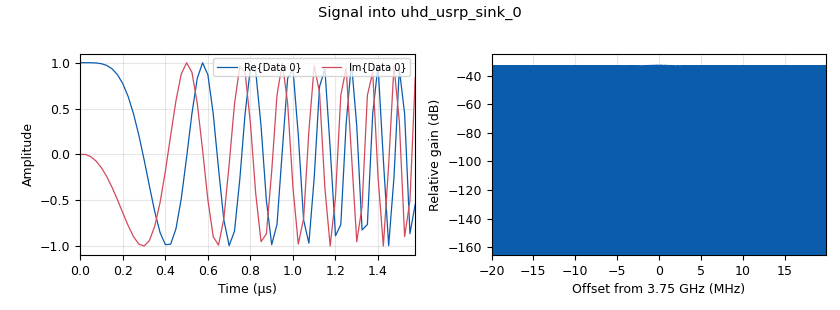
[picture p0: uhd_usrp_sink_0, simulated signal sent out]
options:
  parameters:
    author: Nick Schwarzenberg
    generate_options: qt_gui
    id: transmit
    output_language: python
    realtime_scheduling: '1'
    title: Sounding Transmitter
  states: {}

blocks:
- name: center_freq_mhz
  id: variable_qtgui_range
  parameters:
    label: Center Frequency (MHz)
    min_len: '10'
    start: '70'
    step: '0.1'
    stop: '6000'
    value: '3750'
  states: {}
- name: samp_rate
  id: variable
  parameters:
    value: 40e6
  states: {}
- name: tx_gain
  id: variable_qtgui_range
  parameters:
    label: Normalized TX Gain
    start: '0'
    step: '0.02'
    stop: '1'
    value: '1.0'
  states: {}
- name: blocks_vector_source_x_0
  id: blocks_vector_source_x
  parameters:
    repeat: 'True'
    type: complex
    vector: (1.0+0.0j,1.0000+0.0000j,0.9997-0.0246j,0.9973-0.0739j,0.9891-0.1473j,0.9698-0.2439j,0.9325-0.3612j,0.8691-0.4947j,0.7713-0.6365j,0.6317-0.7752j,0.4457-0.8952j,0.2139-0.9768j,-0.0554-0.9985j,-0.3439-0.9390j,-0.6221-0.7829j,-0.8502-0.5264j,-0.9830-0.1837j,-0.9781+0.2079j,-0.8090+0.5878j,-0.4785+0.8781j,-0.0308+0.9995j,0.4457+0.8952j,0.8302+0.5575j,0.9988+0.0493j,0.8691-0.4947j,0.4457-0.8952j,-0.1534-0.9882j,-0.7136-0.7005j,-0.9939-0.1107j,-0.8370+0.5472j,-0.2737+0.9618j,0.4457+0.8952j,0.9411+0.3382j,0.9032-0.4291j,0.3090-0.9511j,-0.5000-0.8660j,-0.9830-0.1837j,-0.7634+0.6459j,0.0431+0.9991j,0.8302+0.5575j,0.9325-0.3612j,0.2139-0.9768j,-0.7136-0.7005j,-0.9667+0.2558j,-0.2499+0.9683j,0.7390+0.6737j,0.9325-0.3612j,0.0677-0.9977j,-0.8868-0.4622j,-0.7634+0.6459j,0.3324+0.9432j,1.0000+0.0000j,0.3090-0.9511j,-0.8233-0.5677j,-0.7634+0.6459j,0.4457+0.8952j,0.9698-0.2439j,-0.0554-0.9985j,-0.9939-0.1107j,-0.2499+0.9683j,0.9325+0.3612j,0.4457-0.8952j,-0.8629-0.5053j,-0.5421+0.8403j,0.8302+0.5575j,0.5524-0.8336j,-0.8502-0.5264j,-0.4785+0.8781j,0.9135+0.4067j,0.3090-0.9511j,-0.9830-0.1837j,-0.0308+0.9995j,0.9891-0.1473j,-0.3439-0.9390j,-0.8370+0.5472j,0.7390+0.6737j,0.4457-0.8952j,-0.9872-0.1595j,0.1656+0.9862j,0.8691-0.4947j,-0.7791-0.6269j,-0.2737+0.9618j,0.9891-0.1473j,-0.5626-0.8267j,-0.4785+0.8781j,1.0000+0.0000j,-0.5000-0.8660j,-0.4785+0.8781j,0.9973-0.0739j,-0.6221-0.7829j,-0.2737+0.9618j,0.9325-0.3612j,-0.8629-0.5053j,0.1656+0.9862j,0.6317-0.7752j,-0.9981+0.0616j,0.7390+0.6737j,-0.0554-0.9985j,-0.6412+0.7674j,0.9891-0.1473j,-0.8502-0.5264j,0.3324+0.9432j,0.3090-0.9511j,-0.8090+0.5878j,0.9997-0.0246j,-0.8502-0.5264j,0.4457+0.8952j,0.0677-0.9977j,-0.5421+0.8403j,0.8691-0.4947j,-0.9981+0.0616j,0.9325+0.3612j,-0.7136-0.7005j,0.4011+0.9160j,-0.0554-0.9985j,-0.2737+0.9618j,0.5524-0.8336j,-0.7634+0.6459j,0.9032-0.4291j,-0.9781+0.2079j,1.0000+0.0000j,-0.9830-0.1837j,0.9411+0.3382j,-0.8868-0.4622j,0.8302+0.5575j,-0.7791-0.6269j,0.7390+0.6737j,-0.7136-0.7005j,0.7049+0.7093j,-0.7136-0.7005j,0.7390+0.6737j,-0.7791-0.6269j,0.8302+0.5575j,-0.8868-0.4622j,0.9411+0.3382j,-0.9830-0.1837j,1.0000+0.0000j,-0.9781+0.2079j,0.9032-0.4291j,-0.7634+0.6459j,0.5524-0.8336j,-0.2737+0.9618j,-0.0554-0.9985j,0.4011+0.9160j,-0.7136-0.7005j,0.9325+0.3612j,-0.9981+0.0616j,0.8691-0.4947j,-0.5421+0.8403j,0.0677-0.9977j,0.4457+0.8952j,-0.8502-0.5264j,0.9997-0.0246j,-0.8090+0.5878j,0.3090-0.9511j,0.3324+0.9432j,-0.8502-0.5264j,0.9891-0.1473j,-0.6412+0.7674j,-0.0554-0.9985j,0.7390+0.6737j,-0.9981+0.0616j,0.6317-0.7752j,0.1656+0.9862j,-0.8629-0.5053j,0.9325-0.3612j,-0.2737+0.9618j,-0.6221-0.7829j,0.9973-0.0739j,-0.4785+0.8781j,-0.5000-0.8660j,1.0000+0.0000j,-0.4785+0.8781j,-0.5626-0.8267j,0.9891-0.1473j,-0.2737+0.9618j,-0.7791-0.6269j,0.8691-0.4947j,0.1656+0.9862j,-0.9872-0.1595j,0.4457-0.8952j,0.7390+0.6737j,-0.8370+0.5472j,-0.3439-0.9390j,0.9891-0.1473j,-0.0308+0.9995j,-0.9830-0.1837j,0.3090-0.9511j,0.9135+0.4067j,-0.4785+0.8781j,-0.8502-0.5264j,0.5524-0.8336j,0.8302+0.5575j,-0.5421+0.8403j,-0.8629-0.5053j,0.4457-0.8952j,0.9325+0.3612j,-0.2499+0.9683j,-0.9939-0.1107j,-0.0554-0.9985j,0.9698-0.2439j,0.4457+0.8952j,-0.7634+0.6459j,-0.8233-0.5677j,0.3090-0.9511j,1.0000+0.0000j,0.3324+0.9432j,-0.7634+0.6459j,-0.8868-0.4622j,0.0677-0.9977j,0.9325-0.3612j,0.7390+0.6737j,-0.2499+0.9683j,-0.9667+0.2558j,-0.7136-0.7005j,0.2139-0.9768j,0.9325-0.3612j,0.8302+0.5575j,0.0431+0.9991j,-0.7634+0.6459j,-0.9830-0.1837j,-0.5000-0.8660j,0.3090-0.9511j,0.9032-0.4291j,0.9411+0.3382j,0.4457+0.8952j,-0.2737+0.9618j,-0.8370+0.5472j,-0.9939-0.1107j,-0.7136-0.7005j,-0.1534-0.9882j,0.4457-0.8952j,0.8691-0.4947j,0.9988+0.0493j,0.8302+0.5575j,0.4457+0.8952j,-0.0308+0.9995j,-0.4785+0.8781j,-0.8090+0.5878j,-0.9781+0.2079j,-0.9830-0.1837j,-0.8502-0.5264j,-0.6221-0.7829j,-0.3439-0.9390j,-0.0554-0.9985j,0.2139-0.9768j,0.4457-0.8952j,0.6317-0.7752j,0.7713-0.6365j,0.8691-0.4947j,0.9325-0.3612j,0.9698-0.2439j,0.9891-0.1473j,0.9973-0.0739j,0.9997-0.0246j,1.0000+0.0000j)
  states: {}
- name: uhd_usrp_sink_0
  id: uhd_usrp_sink
  parameters:
    ant0: TX/RX
    center_freq0: center_freq_mhz*1e6
    dev_args: '""'
    gain0: tx_gain
    gain_type0: normalized
    len_tag_name: ''
    samp_rate: samp_rate
    sync: none
    type: fc32
  states: {}

connections:
- [blocks_vector_source_x_0, '0', uhd_usrp_sink_0, '0']

metadata:
  file_format: 1
